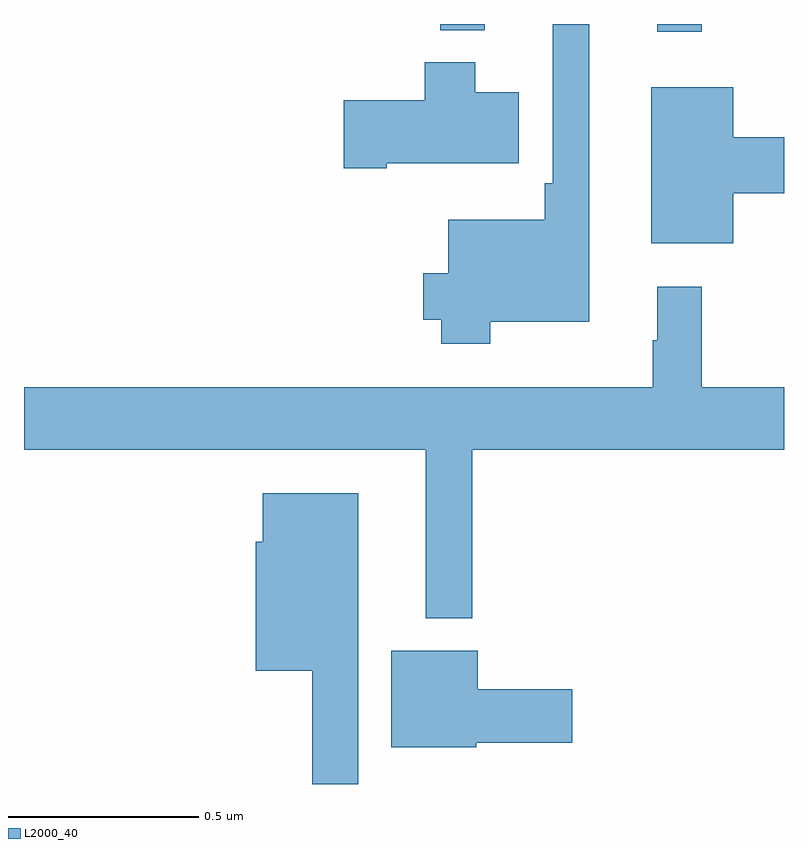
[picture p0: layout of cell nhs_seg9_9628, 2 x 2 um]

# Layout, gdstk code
import gdstk
lib = gdstk.Library(unit=1e-6, precision=1e-09)
def R(c, l, rs):  # rectangles x0, y0, x1, y1
    for r in rs: c.add(gdstk.rectangle(r[:2], r[2:], *l))
def P(c, l, *ps):  # polygons
    for p in ps: c.add(gdstk.Polygon(p, *l))
L2000_40 = (2000, 40)

nhs_seg9_9628 = lib.new_cell('nhs_seg9_9628')
R(nhs_seg9_9628, L2000_40, [(233.666,1237.479,233.783,1237.5), (233.095,1237.484,233.213,1237.5)])
P(nhs_seg9_9628, L2000_40, [(233.227,1236.716),(233.488,1236.716),(233.488,1237.5),(233.391,1237.5),(233.391,1237.081),(233.371,1237.081),(233.371,1236.985),(233.117,1236.985),(233.117,1236.844),(233.051,1236.844),(233.051,1236.722),(233.098,1236.722),(233.098,1236.659),(233.227,1236.659)],
  [(232.954,1237.133),(233.302,1237.133),(233.302,1237.321),(233.188,1237.321),(233.188,1237.399),(233.054,1237.399),(233.054,1237.299),(232.842,1237.299),(232.842,1237.121),(232.954,1237.121)],
  [(233.866,1237.055),(234,1237.055),(234,1237.202),(233.866,1237.202),(233.866,1237.333),(233.651,1237.333),(233.651,1236.923),(233.866,1236.923)],
  [(233.179,1236.38),(234,1236.38),(234,1236.544),(233.783,1236.544),(233.783,1236.808),(233.666,1236.808),(233.666,1236.668),(233.655,1236.668),(233.655,1236.544),(232,1236.544),(232,1236.38),(233.057,1236.38),(233.057,1235.936),(233.179,1235.936)],
  [(232.879,1236.265),(232.628,1236.265),(232.628,1236.138),(232.61,1236.138),(232.61,1235.798),(232.758,1235.798),(232.758,1235.5),(232.879,1235.5)],
  [(233.19,1235.608),(233.443,1235.608),(233.443,1235.75),(233.194,1235.75),(233.194,1235.851),(232.967,1235.851),(232.967,1235.597),(233.19,1235.597)])

lib.write_gds('nhs_seg9_9628.gds')
